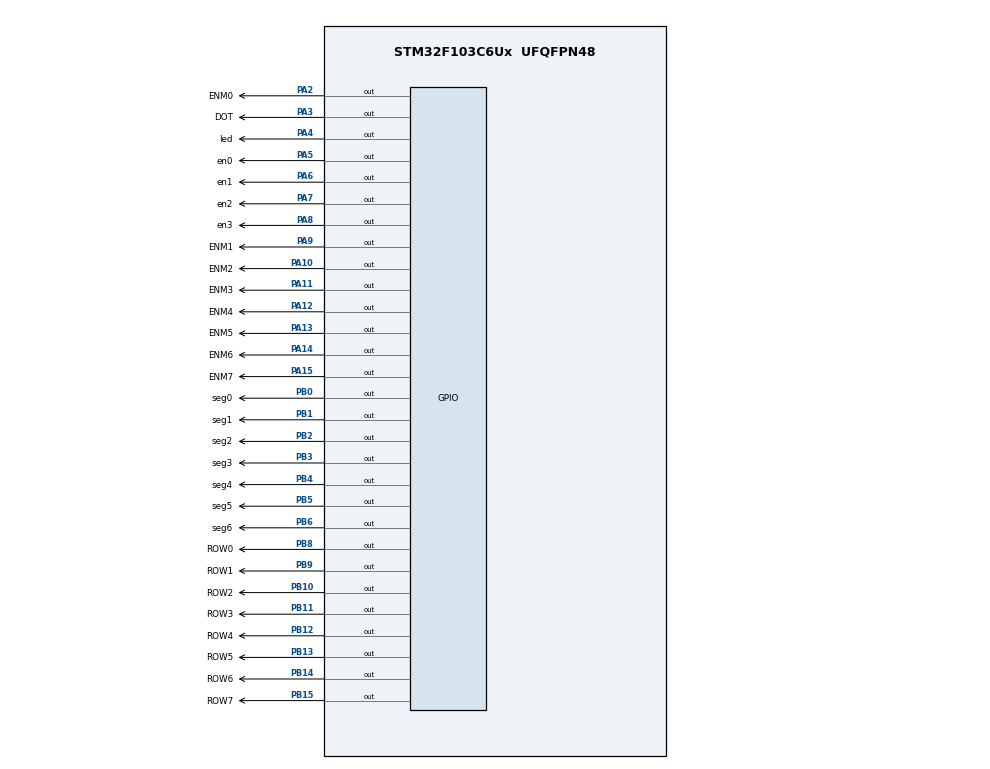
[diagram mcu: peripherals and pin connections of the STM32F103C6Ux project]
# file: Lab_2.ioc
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Mcu.Family=STM32F1
Mcu.Name=STM32F103C6Ux
Mcu.Package=UFQFPN48
NVIC.PriorityGroup=NVIC_PRIORITYGROUP_4
NVIC.TIM2_IRQn=true\:0\:0\:false\:false\:true\:true\:true\:true
PA10.GPIO_Label=ENM2
PA10.Signal=GPIO_Output
PA11.GPIO_Label=ENM3
PA11.Signal=GPIO_Output
PA12.GPIO_Label=ENM4
PA12.Signal=GPIO_Output
PA13.GPIO_Label=ENM5
PA13.Signal=GPIO_Output
PA14.GPIO_Label=ENM6
PA14.Signal=GPIO_Output
PA15.GPIO_Label=ENM7
PA15.Signal=GPIO_Output
PA2.GPIO_Label=ENM0
PA2.Signal=GPIO_Output
PA3.GPIO_Label=DOT
PA3.Signal=GPIO_Output
PA4.GPIO_Label=led
PA4.Signal=GPIO_Output
PA5.GPIO_Label=en0
PA5.Signal=GPIO_Output
PA6.GPIO_Label=en1
PA6.Signal=GPIO_Output
PA7.GPIO_Label=en2
PA7.Signal=GPIO_Output
PA8.GPIO_Label=en3
PA8.Signal=GPIO_Output
PA9.GPIO_Label=ENM1
PA9.Signal=GPIO_Output
PB0.GPIO_Label=seg0
PB0.Signal=GPIO_Output
PB1.GPIO_Label=seg1
PB1.Signal=GPIO_Output
PB10.GPIO_Label=ROW2
PB10.Signal=GPIO_Output
PB11.GPIO_Label=ROW3
PB11.Signal=GPIO_Output
PB12.GPIO_Label=ROW4
PB12.Signal=GPIO_Output
PB13.GPIO_Label=ROW5
PB13.Signal=GPIO_Output
PB14.GPIO_Label=ROW6
PB14.Signal=GPIO_Output
PB15.GPIO_Label=ROW7
PB15.Signal=GPIO_Output
PB2.GPIO_Label=seg2
PB2.Signal=GPIO_Output
PB3.GPIO_Label=seg3
PB3.Signal=GPIO_Output
PB4.GPIO_Label=seg4
PB4.Signal=GPIO_Output
PB5.GPIO_Label=seg5
PB5.Signal=GPIO_Output
PB6.GPIO_Label=seg6
PB6.Signal=GPIO_Output
PB8.GPIO_Label=ROW0
PB8.Signal=GPIO_Output
PB9.GPIO_Label=ROW1
PB9.Signal=GPIO_Output
ProjectManager.HeapSize=0x200
ProjectManager.StackSize=0x400
ProjectManager.TargetToolchain=STM32CubeIDE
RCC.APB1Freq_Value=8000000
RCC.APB2Freq_Value=8000000
TIM2.Period=9
TIM2.Prescaler=7999
VP_TIM2_VS_ClockSourceINT.Mode=Internal
board=custom

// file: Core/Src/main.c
/* USER CODE BEGIN Header */
/**
  ******************************************************************************
  * @file           : main.c
  * @brief          : Main program body
  ******************************************************************************
  * @attention
  *
  * Copyright (c) 2022 STMicroelectronics.
  * All rights reserved.
  *
  * This software is licensed under terms that can be found in the LICENSE file
  * in the root directory of this software component.
  * If no LICENSE file comes with this software, it is provided AS-IS.
  *
  ******************************************************************************
  */
/* USER CODE END Header */
#include "main.h"

TIM_HandleTypeDef htim2;

/* USER CODE BEGIN PV */
uint8_t hour, minute, second;
/* USER CODE END PV */

void SystemClock_Config(void);
static void MX_GPIO_Init(void);
static void MX_TIM2_Init(void);
/* USER CODE BEGIN PFP */
void Display7Seg(uint8_t num);

void Enable7Seg(uint8_t index);

void UpdateLed7Seg(uint8_t index);

void UpdateClockBuffer();

const int MAX_LED_MATRIX = 8;
int index_led_matrix = 0;
int index_shift_left = 0;

uint16_t matrix_buffer[8] = {0x1800, 0x3C00, 0x6600, 0x6600, 0x7E00, 0x7E00, 0x6600, 0x6600};
uint16_t newMatrixBuffer[8] = {0x1800, 0x3C00, 0x6600, 0x6600, 0x7E00, 0x7E00, 0x6600, 0x6600};

void ShiftLeft();
void updateLEDMatrix(int index);

/* USER CODE END PFP */

/* USER CODE BEGIN 0 */
uint8_t TIME_CYCLE = 10;

uint8_t	timer0_counter = 0;
uint8_t	timer0_flag = 0;

uint8_t	timer1_counter = 0;
uint8_t	timer1_flag = 0;

void SetTimer0(uint16_t duration){
	timer0_counter = duration / TIME_CYCLE;
	timer0_flag = 0;
}

void SetTimer1(uint16_t duration){
	timer1_counter = duration / TIME_CYCLE;
	timer1_flag = 0;
}

void RunTimer0(){
	if(timer0_counter > 0){
		timer0_counter--;
		if(timer0_counter <= 0){
			timer0_flag = 1;
		}
	}
}

void RunTimer1(){
	if(timer1_counter > 0){
		timer1_counter--;
		if(timer1_counter <= 0){
			timer1_flag = 1;
		}
	}
}
/* USER CODE END 0 */

int main(void)
{

  /* MCU Configuration--------------------------------------------------------*/

  /* Reset of all peripherals, Initializes the Flash interface and the Systick. */
  HAL_Init();

  /* Configure the system clock */
  SystemClock_Config();

  /* Initialize all configured peripherals */
  MX_GPIO_Init();
  MX_TIM2_Init();
  /* USER CODE BEGIN 2 */
  HAL_TIM_Base_Start_IT(&htim2);

  hour = 15; minute = 8; second = 50;

  uint8_t indexLed			= 0;

  SetTimer0(1000);
  SetTimer1(250);
  /* USER CODE END 2 */

  /* Infinite loop */
  /* USER CODE BEGIN WHILE */
  while (1)
  {
	//  UpdateClockBuffer();

//	  if(timer0_flag == 1){
//		  SetTimer0(1000);
//		//  ShiftLeft();
//		  minute++;
////		  if(second >= 60){
////			  second = 0;
////			  minute++;
////		  }
//		  if(minute >= 60){
//			  minute = 0;
//			  hour++;
//		  }
//		  if(hour > 24){
//			  hour = 0;
//		  }
//
//		  HAL_GPIO_TogglePin(DOT_GPIO_Port, DOT_Pin);
//	  }

	  if(timer0_flag == 1){
		  SetTimer0(1000);
		  ShiftLeft();
	  }
	  if(timer1_flag == 1){
		  SetTimer1(100);
//		  if(indexLed > 3) indexLed = 0;
//		  UpdateLed7Seg(indexLed++);
		  if(index_led_matrix > 8) index_led_matrix = 0;
		  updateLEDMatrix(index_led_matrix++);
	  }
    /* USER CODE END WHILE */

  }
}

void SystemClock_Config(void)
{
  RCC_OscInitTypeDef RCC_OscInitStruct = {0};
  RCC_ClkInitTypeDef RCC_ClkInitStruct = {0};

  /** Initializes the RCC Oscillators according to the specified parameters
  * in the RCC_OscInitTypeDef structure.
  */
  RCC_OscInitStruct.OscillatorType = RCC_OSCILLATORTYPE_HSI;
  RCC_OscInitStruct.HSIState = RCC_HSI_ON;
  RCC_OscInitStruct.HSICalibrationValue = RCC_HSICALIBRATION_DEFAULT;
  RCC_OscInitStruct.PLL.PLLState = RCC_PLL_NONE;
  if (HAL_RCC_OscConfig(&RCC_OscInitStruct) != HAL_OK)
  {
    Error_Handler();
  }

  /** Initializes the CPU, AHB and APB buses clocks
  */
  RCC_ClkInitStruct.ClockType = RCC_CLOCKTYPE_HCLK|RCC_CLOCKTYPE_SYSCLK
                              |RCC_CLOCKTYPE_PCLK1|RCC_CLOCKTYPE_PCLK2;
  RCC_ClkInitStruct.SYSCLKSource = RCC_SYSCLKSOURCE_HSI;
  RCC_ClkInitStruct.AHBCLKDivider = RCC_SYSCLK_DIV1;
  RCC_ClkInitStruct.APB1CLKDivider = RCC_HCLK_DIV1;
  RCC_ClkInitStruct.APB2CLKDivider = RCC_HCLK_DIV1;

  if (HAL_RCC_ClockConfig(&RCC_ClkInitStruct, FLASH_LATENCY_0) != HAL_OK)
  {
    Error_Handler();
  }
}

static void MX_TIM2_Init(void)
{

  TIM_ClockConfigTypeDef sClockSourceConfig = {0};
  TIM_MasterConfigTypeDef sMasterConfig = {0};

  htim2.Instance = TIM2;
  htim2.Init.Prescaler = 7999;
  htim2.Init.CounterMode = TIM_COUNTERMODE_UP;
  htim2.Init.Period = 9;
  htim2.Init.ClockDivision = TIM_CLOCKDIVISION_DIV1;
  htim2.Init.AutoReloadPreload = TIM_AUTORELOAD_PRELOAD_DISABLE;
  if (HAL_TIM_Base_Init(&htim2) != HAL_OK)
  {
    Error_Handler();
  }
  sClockSourceConfig.ClockSource = TIM_CLOCKSOURCE_INTERNAL;
  if (HAL_TIM_ConfigClockSource(&htim2, &sClockSourceConfig) != HAL_OK)
  {
    Error_Handler();
  }
  sMasterConfig.MasterOutputTrigger = TIM_TRGO_RESET;
  sMasterConfig.MasterSlaveMode = TIM_MASTERSLAVEMODE_DISABLE;
  if (HAL_TIMEx_MasterConfigSynchronization(&htim2, &sMasterConfig) != HAL_OK)
  {
    Error_Handler();
  }

}

static void MX_GPIO_Init(void)
{
  GPIO_InitTypeDef GPIO_InitStruct = {0};

  /* GPIO Ports Clock Enable */
  __HAL_RCC_GPIOA_CLK_ENABLE();
  __HAL_RCC_GPIOB_CLK_ENABLE();

  /*Configure GPIO pin Output Level */
  HAL_GPIO_WritePin(GPIOA, ENM0_Pin|DOT_Pin|led_Pin|en0_Pin
                          |en1_Pin|en2_Pin|en3_Pin|ENM1_Pin
                          |ENM2_Pin|ENM3_Pin|ENM4_Pin|ENM5_Pin
                          |ENM6_Pin|ENM7_Pin, GPIO_PIN_RESET);

  /*Configure GPIO pin Output Level */
  HAL_GPIO_WritePin(GPIOB, seg0_Pin|seg1_Pin|seg2_Pin|ROW2_Pin
                          |ROW3_Pin|ROW4_Pin|ROW5_Pin|ROW6_Pin
                          |ROW7_Pin|seg3_Pin|seg4_Pin|seg5_Pin
                          |seg6_Pin|ROW0_Pin|ROW1_Pin, GPIO_PIN_RESET);

  /*Configure GPIO pins : ENM0_Pin DOT_Pin led_Pin en0_Pin
                           en1_Pin en2_Pin en3_Pin ENM1_Pin
                           ENM2_Pin ENM3_Pin ENM4_Pin ENM5_Pin
                           ENM6_Pin ENM7_Pin */
  GPIO_InitStruct.Pin = ENM0_Pin|DOT_Pin|led_Pin|en0_Pin
                          |en1_Pin|en2_Pin|en3_Pin|ENM1_Pin
                          |ENM2_Pin|ENM3_Pin|ENM4_Pin|ENM5_Pin
                          |ENM6_Pin|ENM7_Pin;
  GPIO_InitStruct.Mode = GPIO_MODE_OUTPUT_PP;
  GPIO_InitStruct.Pull = GPIO_NOPULL;
  GPIO_InitStruct.Speed = GPIO_SPEED_FREQ_LOW;
  HAL_GPIO_Init(GPIOA, &GPIO_InitStruct);

  /*Configure GPIO pins : seg0_Pin seg1_Pin seg2_Pin ROW2_Pin
                           ROW3_Pin ROW4_Pin ROW5_Pin ROW6_Pin
                           ROW7_Pin seg3_Pin seg4_Pin seg5_Pin
                           seg6_Pin ROW0_Pin ROW1_Pin */
  GPIO_InitStruct.Pin = seg0_Pin|seg1_Pin|seg2_Pin|ROW2_Pin
                          |ROW3_Pin|ROW4_Pin|ROW5_Pin|ROW6_Pin
                          |ROW7_Pin|seg3_Pin|seg4_Pin|seg5_Pin
                          |seg6_Pin|ROW0_Pin|ROW1_Pin;
  GPIO_InitStruct.Mode = GPIO_MODE_OUTPUT_PP;
  GPIO_InitStruct.Pull = GPIO_NOPULL;
  GPIO_InitStruct.Speed = GPIO_SPEED_FREQ_LOW;
  HAL_GPIO_Init(GPIOB, &GPIO_InitStruct);

}

/* USER CODE BEGIN 4 */
static uint32_t led7Seg[10] = { 0x003F0040, 0x00060079, 0x005B0024,
  								0x004F0030, 0x00660019, 0x006D0012,
  								0x007D0002, 0x00070078, 0x007F0000,
  								0x006F0010 };  //GPIOB
static uint32_t led7SegEnable[4] = {0x002001C0, 0x004001A0, 0x00800160,
								0x010000E0};    //GPIOA

uint8_t ledBuffer[4]		= {0, 0, 0, 0};
void Display7Seg(uint8_t num){
	if(num >= 0 && num <= 9){
		GPIOB->BSRR = led7Seg[num];
	}
}

void Enable7Seg(uint8_t index){
	if(index >= 0 && index <= 3){
		GPIOA->BSRR = led7SegEnable[index];
	}
}

void UpdateLed7Seg(uint8_t index){
	if(index >= 0 && index <= 3){
		Enable7Seg(index);
		Display7Seg( ledBuffer[index] );
	}
}

void UpdateClockBuffer(){
	ledBuffer[0] = hour / 10;
	ledBuffer[1] = hour % 10;
	ledBuffer[2] = minute / 10;
	ledBuffer[3] = minute % 10;
}

//const int MAX_LED_MATRIX = 8;
//int index_led_matrix = 0;
//uint8_t matrix_buffer[8] = {0x01, 0x02, 0x03, 0x04, 0x05, 0x06, 0x07, 0x08};
void ShiftLeft(){
//shift left
	for(uint8_t i = 0; i < MAX_LED_MATRIX; i++){
		newMatrixBuffer[i] = newMatrixBuffer[i] << 1;
	}

}

void updateLEDMatrix(int index){
    GPIOB->ODR = ~(newMatrixBuffer[index]);
    switch (index){
        case 0:
        	HAL_GPIO_WritePin(GPIOA, ENM0_Pin, RESET);
        	HAL_GPIO_WritePin(GPIOA, ENM1_Pin | ENM2_Pin| ENM3_Pin| ENM4_Pin |
        								ENM5_Pin | ENM6_Pin| ENM7_Pin, SET);
			break;
        case 1:
        	HAL_GPIO_WritePin(GPIOA, ENM1_Pin, RESET);
        	HAL_GPIO_WritePin(GPIOA, ENM0_Pin | ENM2_Pin| ENM3_Pin| ENM4_Pin |
        								ENM5_Pin | ENM6_Pin| ENM7_Pin, SET);
            break;
        case 2:
        	HAL_GPIO_WritePin(GPIOA, ENM2_Pin, RESET);
        	HAL_GPIO_WritePin(GPIOA, ENM0_Pin | ENM1_Pin| ENM3_Pin| ENM4_Pin |
        								ENM5_Pin | ENM6_Pin| ENM7_Pin, SET);
            break;
        case 3:
        	HAL_GPIO_WritePin(GPIOA, ENM3_Pin, RESET);
        	HAL_GPIO_WritePin(GPIOA, ENM0_Pin | ENM1_Pin| ENM2_Pin| ENM4_Pin |
        								ENM5_Pin | ENM6_Pin| ENM7_Pin, SET);
            break;
        case 4:
        	HAL_GPIO_WritePin(GPIOA, ENM4_Pin, RESET);
        	HAL_GPIO_WritePin(GPIOA, ENM0_Pin | ENM1_Pin| ENM2_Pin| ENM3_Pin |
        								ENM5_Pin | ENM6_Pin| ENM7_Pin, SET);
            break;
        case 5:
        	HAL_GPIO_WritePin(GPIOA, ENM5_Pin, RESET);
        	HAL_GPIO_WritePin(GPIOA, ENM0_Pin | ENM1_Pin| ENM2_Pin| ENM3_Pin |
        								ENM4_Pin | ENM6_Pin| ENM7_Pin, SET);
            break;
        case 6:
        	HAL_GPIO_WritePin(GPIOA, ENM6_Pin, RESET);
        	HAL_GPIO_WritePin(GPIOA, ENM0_Pin | ENM1_Pin| ENM2_Pin| ENM3_Pin |
        								ENM4_Pin | ENM5_Pin| ENM7_Pin, SET);
            break;
        case 7:
        	HAL_GPIO_WritePin(GPIOA, ENM7_Pin, RESET);
        	HAL_GPIO_WritePin(GPIOA, ENM0_Pin | ENM1_Pin| ENM2_Pin| ENM3_Pin |
        								ENM4_Pin | ENM5_Pin| ENM6_Pin, SET);
            break;
        default:
            break;
    }
}

void HAL_TIM_PeriodElapsedCallback(TIM_HandleTypeDef *htim){
	if(htim->Instance == TIM2){
		RunTimer0();
		RunTimer1();
	}
}

/* USER CODE END 4 */

void Error_Handler(void)
{
  __disable_irq();
  while (1)
  {
  }
}
